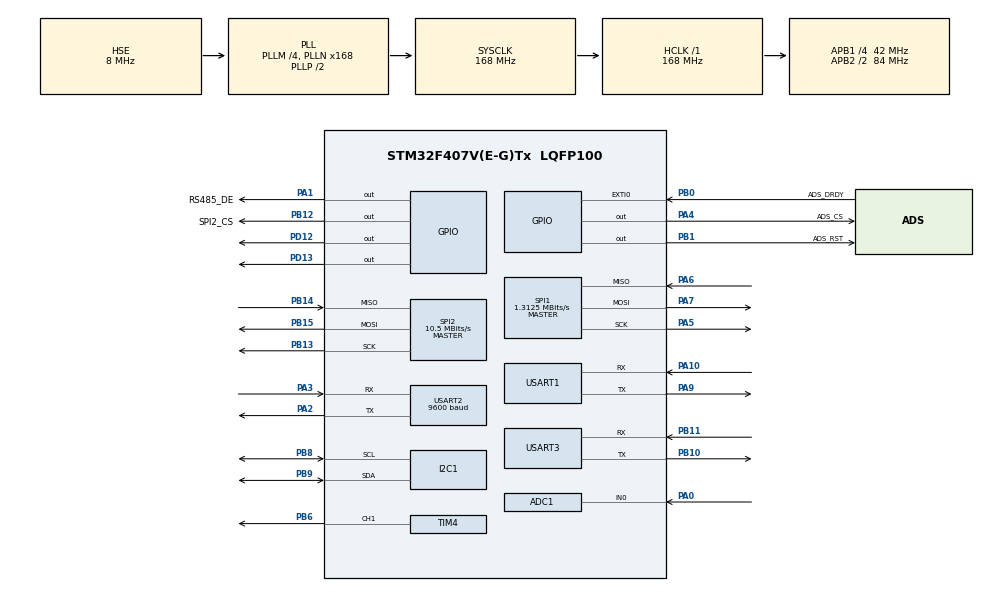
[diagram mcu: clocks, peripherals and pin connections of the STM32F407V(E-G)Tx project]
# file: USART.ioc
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ADC1.Channel-0\#ChannelRegularConversion=ADC_CHANNEL_0
ADC1.NbrOfConversionFlag=1
ADC1.Rank-0\#ChannelRegularConversion=1
ADC1.SamplingTime-0\#ChannelRegularConversion=ADC_SAMPLETIME_144CYCLES
ADC1.master=1
Mcu.Family=STM32F4
Mcu.Name=STM32F407V(E-G)Tx
Mcu.Package=LQFP100
NVIC.EXTI0_IRQn=true\:0\:0\:false\:false\:true\:true\:true\:true
NVIC.PriorityGroup=NVIC_PRIORITYGROUP_4
NVIC.USART1_IRQn=true\:0\:0\:false\:false\:true\:true\:true\:true
NVIC.USART2_IRQn=true\:0\:0\:false\:false\:true\:true\:true\:true
NVIC.USART3_IRQn=true\:0\:0\:false\:false\:true\:true\:true\:true
PA0-WKUP.Signal=ADCx_IN0
PA1.GPIO_Label=RS485_DE
PA1.Signal=GPIO_Output
PA10.Mode=Asynchronous
PA10.Signal=USART1_RX
PA13.Mode=Serial_Wire
PA13.Signal=SYS_JTMS-SWDIO
PA14.Mode=Serial_Wire
PA14.Signal=SYS_JTCK-SWCLK
PA2.Mode=Asynchronous
PA2.Signal=USART2_TX
PA3.Mode=Asynchronous
PA3.Signal=USART2_RX
PA4.GPIO_Label=ADS_CS
PA4.GPIO_Speed=GPIO_SPEED_FREQ_HIGH
PA4.Signal=GPIO_Output
PA5.Mode=Full_Duplex_Master
PA5.Signal=SPI1_SCK
PA6.Mode=Full_Duplex_Master
PA6.Signal=SPI1_MISO
PA7.Mode=Full_Duplex_Master
PA7.Signal=SPI1_MOSI
PA9.Mode=Asynchronous
PA9.Signal=USART1_TX
PB0.GPIO_Label=ADS_DRDY
PB0.GPIO_ModeDefaultEXTI=GPIO_MODE_IT_FALLING
PB0.GPIO_PuPd=GPIO_PULLUP
PB0.Signal=GPXTI0
PB1.GPIO_Label=ADS_RST
PB1.Signal=GPIO_Output
PB10.Mode=Asynchronous
PB10.Signal=USART3_TX
PB11.Mode=Asynchronous
PB11.Signal=USART3_RX
PB12.GPIO_Label=SPI2_CS
PB12.PinState=GPIO_PIN_SET
PB12.Signal=GPIO_Output
PB13.Mode=Full_Duplex_Master
PB13.Signal=SPI2_SCK
PB14.Mode=Full_Duplex_Master
PB14.Signal=SPI2_MISO
PB15.Mode=Full_Duplex_Master
PB15.Signal=SPI2_MOSI
PB6.Signal=S_TIM4_CH1
PB8.Mode=I2C
PB8.Signal=I2C1_SCL
PB9.Mode=I2C
PB9.Signal=I2C1_SDA
PD12.Signal=GPIO_Output
PD13.Signal=GPIO_Output
PH0-OSC_IN.Mode=HSE-External-Oscillator
PH0-OSC_IN.Signal=RCC_OSC_IN
PH1-OSC_OUT.Mode=HSE-External-Oscillator
PH1-OSC_OUT.Signal=RCC_OSC_OUT
ProjectManager.HeapSize=0x200
ProjectManager.StackSize=0x400
ProjectManager.TargetToolchain=MDK-ARM V5.32
RCC.48MHZClocksFreq_Value=84000000
RCC.AHBFreq_Value=168000000
RCC.APB1CLKDivider=RCC_HCLK_DIV4
RCC.APB1Freq_Value=42000000
RCC.APB1TimFreq_Value=84000000
RCC.APB2CLKDivider=RCC_HCLK_DIV2
RCC.APB2Freq_Value=84000000
RCC.APB2TimFreq_Value=168000000
RCC.CortexFreq_Value=168000000
RCC.HCLKFreq_Value=168000000
RCC.HSE_VALUE=8000000
RCC.HSI_VALUE=16000000
RCC.LSE_VALUE=32768
RCC.PLLM=4
RCC.PLLN=168
RCC.PLLSourceVirtual=RCC_PLLSOURCE_HSE
RCC.SYSCLKFreq_VALUE=168000000
RCC.SYSCLKSource=RCC_SYSCLKSOURCE_PLLCLK
RCC.VCOOutputFreq_Value=336000000
SH.ADCx_IN0.0=ADC1_IN0,IN0
SH.S_TIM4_CH1.0=TIM4_CH1,PWM Generation1 CH1
SPI1.BaudRatePrescaler=SPI_BAUDRATEPRESCALER_64
SPI1.CLKPhase=SPI_PHASE_2EDGE
SPI1.CalculateBaudRate=1.3125 MBits/s
SPI1.Direction=SPI_DIRECTION_2LINES
SPI1.Mode=SPI_MODE_MASTER
SPI1.VirtualType=VM_MASTER
SPI2.BaudRatePrescaler=SPI_BAUDRATEPRESCALER_4
SPI2.CalculateBaudRate=10.5 MBits/s
SPI2.Direction=SPI_DIRECTION_2LINES
SPI2.Mode=SPI_MODE_MASTER
SPI2.VirtualType=VM_MASTER
TIM4.Channel-PWM\ Generation1\ CH1=TIM_CHANNEL_1
TIM4.Period=2799
TIM4.Prescaler=0
USART1.VirtualMode=VM_ASYNC
USART2.BaudRate=9600
USART2.VirtualMode=VM_ASYNC
USART3.VirtualMode=VM_ASYNC
VP_TIM4_VS_ClockSourceINT.Mode=Internal
board=custom

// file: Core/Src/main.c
/* USER CODE BEGIN Header */
/**
  ******************************************************************************
  * @file           : main.c
  * @brief          : Main program body
  ******************************************************************************
  * @attention
  *
  * Copyright (c) 2024 STMicroelectronics.
  * All rights reserved.
  *
  * This software is licensed under terms that can be found in the LICENSE file
  * in the root directory of this software component.
  * If no LICENSE file comes with this software, it is provided AS-IS.
  *
  ******************************************************************************
  */
/* USER CODE END Header */
#include "main.h"
#include "adc.h"
#include "i2c.h"
#include "spi.h"
#include "tim.h"
#include "usart.h"
#include "gpio.h"

/* USER CODE BEGIN Includes */
#include <stdio.h>
#include "ads1256.h"
#include "frn06.h"
#include "flow_ctrl.h"
#include "modbus_rtu_slave.h"
#include "w25q64_flash.h"
#include "gas_calib.h"
/* USER CODE END Includes */

/* USER CODE BEGIN PD */

/* USART1 收到任何字节后回 "ok\r\n"（仅用于最初串口连通性测试，默认关闭） */
#define UART1_RX_REPLY_OK 0

/* printf(USART3) 的单次发送超时，避免调试打印长时间阻塞主循环 */
#define DEBUG_UART_TX_TIMEOUT_MS 5U

/* 仅做 Modbus 联调时可置 1：关闭 ADS/FRN06/FlowCtrl 等，避免外设影响 */
#define MODBUS_ONLY_TEST 0

/* 泄漏传感器（PA0/ADC1_IN0）原始 ADC -> 电压（mV）换算用参数 */
#define LEAK_ADC_VREF_MV 3300U
#define LEAK_ADC_FULL_SCALE 4095U

/* 泄漏传感器浓度标定（按 ADC 原始值线性映射）
 * - ADC=2000 -> 0%LEL
 * - ADC=2100 -> 100%LEL
 * 输出单位：%LEL x100（0~10000）
 */
#define LEAK_ADC_ZERO 2000U
#define LEAK_ADC_FULL 2100U

/* 浓度单位：%LEL x100（100.00%LEL -> 10000） */
#define LEAK_CONC_MAX_U16 10000U

/* 三态报警阈值（同样是 %LEL x100）
 * - >25% 低报（1）
 * - >50% 高报（2）
 */
#define LEAK_ALARM_LOW_TH 2500U
#define LEAK_ALARM_HIGH_TH 5000U  //高低报阈值

/* USER CODE END PD */

/* USER CODE BEGIN PV */
/* Modbus 接收中断：每次只收 1 字节（UART IRQ 中不断续接收） */
uint8_t uart1_rx_byte;
uint8_t rs485_rx_byte;
uint8_t uart1_rx_seen;

/* 通信统计（用于调试串口/485 是否有数据进来） */
uint32_t uart1_rx_cnt;
uint32_t uart2_rx_cnt;

/* 轮询定时：FRN06 打印 / FlowCtrl 更新 / ADS 打印等 */
uint32_t frn06_test_last_tick = 0;
uint32_t flow_ctrl_last_tick = 0;
uint32_t ads_print_last_tick = 0;

/* 泵使能的上一次状态：用于检测 0->1 或 1->0 变化，触发 FlowCtrl_Reset() */
uint16_t pump_enable_last = 0;

/* MODBUS_ONLY_TEST 模式下的调试打印节拍 */
uint32_t modbus_dbg_last_tick = 0;

/* PA0 泄漏传感器采样/打印节拍与结果缓存 */
uint32_t leak_adc_last_tick = 0;
uint32_t leak_print_last_tick = 0;
uint16_t leak_adc_raw = 0;
uint16_t leak_mv = 0;

/* leak_conc_u16：%LEL x100（0~10000）；leak_state_u16：0正常/1低报/2高报 */
uint16_t leak_conc_u16 = 0;
uint16_t leak_state_u16 = 0;

int32_t g_ads_zero_uv[GAS_CALIB_CH_COUNT] = {400000, 400000, 400000, 400000};
/* USER CODE END PV */

void SystemClock_Config(void);

/* USER CODE BEGIN 0 */

/* ADS1256 电压(uV) -> 浓度(%LEL x100) 的线性换算：zero_uv=0，2.0V=10000 */
static uint16_t ADS_uV_To_LelX100(int32_t uv, int32_t zero_uv)
{
  const int32_t full_uv = 2000000;
  const int32_t span_uv = (full_uv - zero_uv);

  if (uv <= zero_uv)
  {
    return 0U;
  }
  if (uv > full_uv)
  {
    return 10001U;
  }
  if (span_uv <= 0)
  {
    return 0U;
  }

  {
    int64_t num = (int64_t)(uv - zero_uv) * 10000LL;
    int64_t den = (int64_t)span_uv;
    num += den / 2;
    {
      int64_t out = num / den;
      if (out < 0)
      {
        out = 0;
      }
      if (out < 50)
      {
        out = 0;
      }
      if (out > 10000)
      {
        out = 10000;
      }
      return (uint16_t)out;
    }
  }
}
/**
  * @brief 串口接收完成中断回调函数
  * @note  当前仅对 USART1 做回显测试：收到 1 字节就立即回发。
  */
void HAL_UART_RxCpltCallback(UART_HandleTypeDef *huart)
{
    if(huart->Instance == USART1)
    {
        uart1_rx_seen = 1U;
        uart1_rx_cnt++;
        ModbusRTUSlave_OnByteFromUart(&huart1, uart1_rx_byte);
        HAL_UART_Receive_IT(&huart1, &uart1_rx_byte, 1);
    }
    else if (huart->Instance == USART2)
    {
        uart2_rx_cnt++;
        ModbusRTUSlave_OnByteFromUart(&huart2, rs485_rx_byte);
        HAL_UART_Receive_IT(&huart2, &rs485_rx_byte, 1);
    }
}

void HAL_UART_ErrorCallback(UART_HandleTypeDef *huart)
{
  if (huart == NULL)
  {
    return;
  }

  if (huart->Instance == USART1)
  {
    __HAL_UART_CLEAR_OREFLAG(&huart1);
    __HAL_UART_CLEAR_FEFLAG(&huart1);
    __HAL_UART_CLEAR_NEFLAG(&huart1);
    __HAL_UART_CLEAR_PEFLAG(&huart1);
    (void)HAL_UART_Receive_IT(&huart1, &uart1_rx_byte, 1);
  }
  else if (huart->Instance == USART2)
  {
    __HAL_UART_CLEAR_OREFLAG(&huart2);
    __HAL_UART_CLEAR_FEFLAG(&huart2);
    __HAL_UART_CLEAR_NEFLAG(&huart2);
    __HAL_UART_CLEAR_PEFLAG(&huart2);
    (void)HAL_UART_Receive_IT(&huart2, &rs485_rx_byte, 1);
  }
}

void HAL_GPIO_EXTI_Callback(uint16_t GPIO_Pin)
{
  if (GPIO_Pin == ADS_DRDY_Pin)
  {
    /* ADS1256 DRDY 下降沿：提示有新数据可读（由 ADS1256_Update() 消费此标志） */
    g_ads1256_drdy_flag = 1U;
  }
}

/* PA0 原始 ADC -> mV：仅用于打印观察输入电压，控制逻辑不依赖该值 */
static uint16_t LeakAdc_To_mV(uint16_t adc)
{
  uint32_t mv = ((uint32_t)adc * (uint32_t)LEAK_ADC_VREF_MV + (LEAK_ADC_FULL_SCALE / 2U)) / (uint32_t)LEAK_ADC_FULL_SCALE;
  if (mv > 65535U)
  {
    mv = 65535U;
  }
  return (uint16_t)mv;
}

static uint16_t LeakAdc_To_ConcU16(uint16_t adc)
{
  /* 基于标定点的线性插值：2000->0%LEL，2100->100%LEL（输出%LEL x100） */
  if (adc <= (uint16_t)LEAK_ADC_ZERO)
  {
    return 0U;
  }
  if (adc >= (uint16_t)LEAK_ADC_FULL)
  {
    return (uint16_t)LEAK_CONC_MAX_U16;
  }
  {
    uint32_t span = (uint32_t)((uint16_t)LEAK_ADC_FULL - (uint16_t)LEAK_ADC_ZERO);
    uint32_t num = (uint32_t)(adc - (uint16_t)LEAK_ADC_ZERO) * (uint32_t)LEAK_CONC_MAX_U16;
    uint32_t out = (span == 0U) ? 0U : ((num + span / 2U) / span);
    if (out > (uint32_t)LEAK_CONC_MAX_U16)
    {
      out = (uint32_t)LEAK_CONC_MAX_U16;
    }
    return (uint16_t)out;
  }
}

static uint16_t LeakConc_To_StateU16(uint16_t conc_u16)
{
  /* 三态报警：0正常/1低报/2高报；同时点亮/熄灭板载 LED(示意) */
  if (conc_u16 > (uint16_t)LEAK_ALARM_HIGH_TH)
  {
    HAL_GPIO_WritePin(GPIOD, GPIO_PIN_13, GPIO_PIN_SET);//开灯
    return 2U;
  }
  if (conc_u16 > (uint16_t)LEAK_ALARM_LOW_TH)
  {
    HAL_GPIO_WritePin(GPIOD, GPIO_PIN_13, GPIO_PIN_SET);
    return 1U;
  }
  HAL_GPIO_WritePin(GPIOD, GPIO_PIN_13, GPIO_PIN_RESET);//关灯
  return 0U;
}

/**
  * @brief printf 重定向到调试串口 USART3
  * @note  适用于 Keil/ARMCC 常见 printf 实现。
  */
int fputc(int ch, FILE *f)
{
  (void)f;
  (void)HAL_UART_Transmit(&huart3, (uint8_t *)&ch, 1, DEBUG_UART_TX_TIMEOUT_MS);
  return ch;
}

/**
  * @brief 兼容 GCC/newlib 的 printf 重定向（部分工程会走 _write）
  */
#ifdef __GNUC__
int _write(int file, char *ptr, int len)
{
  (void)file;
  (void)HAL_UART_Transmit(&huart3, (uint8_t *)ptr, (uint16_t)len, DEBUG_UART_TX_TIMEOUT_MS);
  return len;
}
#endif

/* USER CODE END 0 */

int main(void)
{

  /* MCU Configuration--------------------------------------------------------*/

  /* Reset of all peripherals, Initializes the Flash interface and the Systick. */
  HAL_Init();

  /* Configure the system clock */
  SystemClock_Config();

  /* Initialize all configured peripherals */
  MX_GPIO_Init();
  MX_USART1_UART_Init();
  MX_USART2_UART_Init();
  MX_USART3_UART_Init();
  MX_ADC1_Init();
  MX_I2C1_Init();
  MX_SPI1_Init();
  MX_TIM4_Init();
  MX_SPI2_Init();
  /* USER CODE BEGIN 2 */
  /* Modbus 从机：同时挂载到 USART1/USART2，两路共用同一份保持寄存器数据
   * - USART1：通常接串口屏/上位机
   * - USART2：通常接 RS485
   */
  ModbusRTUSlave_Init(&huart1, 1);
  ModbusRTUSlave_Init(&huart2, 1);

  /* 采用中断方式逐字节接收，接收回调里喂给 Modbus 协议栈 */
  HAL_UART_Receive_IT(&huart1, &uart1_rx_byte, 1);
  HAL_UART_Receive_IT(&huart2, &rs485_rx_byte, 1);

  /* NVIC 优先级：让 Modbus 接收优先级高于 ADS 打印，避免丢帧 */
  HAL_NVIC_SetPriority(USART1_IRQn, 1, 0);
  HAL_NVIC_SetPriority(USART2_IRQn, 1, 0);
  HAL_NVIC_SetPriority(EXTI0_IRQn, 5, 0);
  HAL_NVIC_SetPriority(USART3_IRQn, 6, 0);
  HAL_NVIC_EnableIRQ(USART1_IRQn);
  HAL_NVIC_EnableIRQ(USART2_IRQn);
  HAL_NVIC_EnableIRQ(EXTI0_IRQn);
  HAL_NVIC_EnableIRQ(USART3_IRQn);

#if MODBUS_ONLY_TEST
  HAL_NVIC_DisableIRQ(EXTI0_IRQn);

  ModbusRTUSlave_SetPumpEnable(0U);
  __HAL_TIM_SET_COMPARE(&htim4, TIM_CHANNEL_1, 0);
  (void)HAL_TIM_PWM_Stop(&htim4, TIM_CHANNEL_1);
  {
    GPIO_InitTypeDef GPIO_InitStruct = {0};
    GPIO_InitStruct.Pin = GPIO_PIN_6;
    GPIO_InitStruct.Mode = GPIO_MODE_OUTPUT_PP;
    GPIO_InitStruct.Pull = GPIO_NOPULL;
    GPIO_InitStruct.Speed = GPIO_SPEED_FREQ_LOW;
    HAL_GPIO_Init(GPIOB, &GPIO_InitStruct);
    HAL_GPIO_WritePin(GPIOB, GPIO_PIN_6, GPIO_PIN_RESET);
  }
#endif

  HAL_SPI_DeInit(&hspi1);
  hspi1.Init.BaudRatePrescaler = SPI_BAUDRATEPRESCALER_256;
  (void)HAL_SPI_Init(&hspi1);

  /* ADS/RS485 相关 GPIO 上电默认电平：
   * - CS 空闲建议拉高（不选中）
   * - RESET 释放建议拉高（退出复位）
   * - RS485_DE 保持低（接收模式），当前未接485也不影响
   */
  HAL_GPIO_WritePin(ADS_CS_GPIO_Port, ADS_CS_Pin, GPIO_PIN_SET);
  HAL_GPIO_WritePin(ADS_RST_GPIO_Port, ADS_RST_Pin, GPIO_PIN_SET);
  HAL_GPIO_WritePin(RS485_DE_GPIO_Port, RS485_DE_Pin, GPIO_PIN_RESET);
  printf("open is OK!!!\r\n");

  if (W25Q64_Init() == 0)
  {
    int32_t z[GAS_CALIB_CH_COUNT];
    if (GasCalib_LoadZeroUv(z) == 0)
    {
      for (uint8_t i = 0; i < GAS_CALIB_CH_COUNT; i++)
      {
        g_ads_zero_uv[i] = z[i];
      }
    }
  }
  /* 为了避免线路未接/接触不良导致“浮空随机值”，这里在运行时做一次 GPIO 重新配置：
   * - DRDY：输入上拉（未接时稳定为 1；接上后由 ADS1256 驱动）
   * - SPI1 MISO(PA6)：AF 无上下拉（由 ADS1256 DOUT 推挽驱动）
   */
  {
    GPIO_InitTypeDef GPIO_InitStruct = {0};

    GPIO_InitStruct.Pin = GPIO_PIN_6;
    GPIO_InitStruct.Mode = GPIO_MODE_AF_PP;
    GPIO_InitStruct.Pull = GPIO_NOPULL;
    GPIO_InitStruct.Speed = GPIO_SPEED_FREQ_VERY_HIGH;
    GPIO_InitStruct.Alternate = GPIO_AF5_SPI1;
    HAL_GPIO_Init(GPIOA, &GPIO_InitStruct);
  }

#if !MODBUS_ONLY_TEST
  FRN06_Init();
  {
    /* FRN06 传感器参数（offset/scale）上电读一次，后续用来做流量单位换算 */
    int32_t off = 0;
    int32_t scale = 0;
    if (FRN06_ReadParams(&off, &scale) == HAL_OK)
    {
      printf("FRN06 offset=%ld, scale=%ld\r\n", (long)off, (long)scale);
    }
    else
    {
      printf("FRN06 read params failed\r\n");
    }
  }

  (void)FlowCtrl_Init();
  /* 默认目标流量：500 mslm（=0.500 slm），可后续改为从 Modbus/界面下发 */
  FlowCtrl_SetTarget_mslm(500);

  /* 板载指示灯：PD12 作为电源/运行灯 */
  HAL_GPIO_WritePin(GPIOD, GPIO_PIN_12, GPIO_PIN_SET);//电源灯
  //HAL_GPIO_WritePin(GPIOD, GPIO_PIN_13, GPIO_PIN_SET);
#endif
  /* USER CODE END 2 */

  /* Infinite loop */
  /* USER CODE BEGIN WHILE */
  while (1)
  {
#if !MODBUS_ONLY_TEST
    /* PA0 泄漏传感器采样：100ms 采一次（ADC 单次转换方式）
     * - leak_conc_u16：浓度（%LEL x100）
     * - leak_state_u16：三态报警（0/1/2）并发布到 Modbus 寄存器
     */
    if ((HAL_GetTick() - leak_adc_last_tick) >= 100U)
    {
      leak_adc_last_tick = HAL_GetTick();
      if (HAL_ADC_Start(&hadc1) == HAL_OK)
      {
        if (HAL_ADC_PollForConversion(&hadc1, 1) == HAL_OK)
        {
          uint32_t v = HAL_ADC_GetValue(&hadc1);
          if (v > 0xFFFFU)
          {
            v = 0xFFFFU;
          }
          leak_adc_raw = (uint16_t)v;
          leak_mv = LeakAdc_To_mV(leak_adc_raw);
          leak_conc_u16 = LeakAdc_To_ConcU16(leak_adc_raw);
          leak_state_u16 = LeakConc_To_StateU16(leak_conc_u16);
          ModbusRTUSlave_SetLeakState(leak_state_u16);
        }
        (void)HAL_ADC_Stop(&hadc1);
      }
    }

    /* 低频打印，避免太多 printf 影响实时控制 */
    if ((HAL_GetTick() - leak_print_last_tick) >= 500U)
    {
      leak_print_last_tick = HAL_GetTick();
      printf("LEAK adc=%u mv=%u conc=%u state=%u\r\n", leak_adc_raw, leak_mv, leak_conc_u16, leak_state_u16);
    }
#endif

#if !MODBUS_ONLY_TEST
    /* ADS1256 采样更新：驱动内部使用 DRDY 标志做非阻塞采样
     * 这里每次循环都调用 Update，然后将四路浓度写入 Modbus 保持寄存器 0~3。
     */
    ADS1256_Update();

    {
      uint16_t req = ModbusRTUSlave_GetZeroCalibReq();
      if (req < 4U)
      {
        int32_t uv = ADS1256_GetLatestUv((uint8_t)req);
        if (uv == (int32_t)0x80000000 || uv == (int32_t)0x80000001)
        {
          ModbusRTUSlave_SetZeroCalibResult(3U);
        }
        else
        {
          g_ads_zero_uv[req] = uv;
          if (GasCalib_SaveZeroUv(g_ads_zero_uv) == 0)
          {
            ModbusRTUSlave_SetZeroCalibResult(1U);
          }
          else
          {
            ModbusRTUSlave_SetZeroCalibResult(2U);
          }
        }
        ModbusRTUSlave_ClearZeroCalibReq();
      }
    }

    {
      uint16_t conc_u16[4];
      uint16_t fault_mask = 0U;
      for (uint8_t ch = 0; ch < 4U; ch++)
      {
        int32_t uv = ADS1256_GetLatestUv(ch);
        if (uv == (int32_t)0x80000000 || uv == (int32_t)0x80000001)
        {
          fault_mask |= (uint16_t)(1U << ch);
          conc_u16[ch] = 0U;
        }
        else
        {
          if (uv < 240000)
          {
            fault_mask |= (uint16_t)(1U << ch);
          }
          conc_u16[ch] = ADS_uV_To_LelX100(uv, g_ads_zero_uv[ch]);
        }
        ModbusRTUSlave_SetConcentrationU16(ch, conc_u16[ch]);
      }
      ModbusRTUSlave_SetSensorFaultMask(fault_mask);
    }
#endif

    /* Modbus 协议栈轮询：解析接收帧并发送响应（两路串口都在这里处理） */
    ModbusRTUSlave_PollAll();

#if MODBUS_ONLY_TEST
    if ((HAL_GetTick() - modbus_dbg_last_tick) >= 1000U)
    {
      modbus_dbg_last_tick = HAL_GetTick();
      printf("MB rx1=%lu rx2=%lu ok=%lu bad=%lu\r\n",
             (unsigned long)uart1_rx_cnt,
             (unsigned long)uart2_rx_cnt,
             (unsigned long)g_modbus_rx_ok_frames,
             (unsigned long)g_modbus_rx_bad_crc_frames);
    }
#endif

#if UART1_RX_REPLY_OK
    if (uart1_rx_seen != 0U)
    {
      static const uint8_t ok_msg[] = "ok\r\n";
      uart1_rx_seen = 0U;
      (void)HAL_UART_Transmit(&huart1, (uint8_t *)ok_msg, (uint16_t)(sizeof(ok_msg) - 1U), 10);
    }
#endif

#if !MODBUS_ONLY_TEST
    /* 流量闭环控制：50ms 更新一次
     * - pump_en 来自 Modbus 寄存器 4（可写），用于开/关泵
     * - 使能变化时 reset，避免积分项/状态残留
     */
    if ((HAL_GetTick() - flow_ctrl_last_tick) >= 50U)
    {
      flow_ctrl_last_tick = HAL_GetTick();
      {
        uint16_t pump_en = ModbusRTUSlave_GetPumpEnable();

        if (pump_en != pump_enable_last)
        {
          pump_enable_last = pump_en;
          FlowCtrl_Reset();
        }

        if (pump_en != 0U)
        {
          FlowCtrl_Update();
        }
        else
        {
          FlowCtrl_Sample();
          __HAL_TIM_SET_COMPARE(&htim4, TIM_CHANNEL_1, 0);
        }
      }
    }
#endif

#if !MODBUS_ONLY_TEST
    /* 每 1 秒打印一次流量传感器读数与 PWM 输出，用于现场观察稳定性 */
    if ((HAL_GetTick() - frn06_test_last_tick) >= 1000U)
    {
      frn06_test_last_tick = HAL_GetTick();
      {
        int32_t meas = 0;
        int32_t filt = FlowCtrl_GetMeasured_mslm();
        uint32_t pwm = FlowCtrl_GetPwmCompare();
        int32_t raw = 0;
        (void)FRN06_ReadFlow_mslm(&meas);
        (void)FRN06_ReadFlowRaw(&raw);

        uint32_t arr = __HAL_TIM_GET_AUTORELOAD(&htim4);
        uint32_t period = arr + 1U;
        uint32_t duty_x1000 = 0;
        if (period > 0U)
        {
          duty_x1000 = (uint32_t)((pwm * 1000U) / period);
        }

        int32_t abs_meas = (meas >= 0) ? meas : -meas;

        int32_t abs_filt = (filt >= 0) ? filt : -filt;

        printf("FLOW raw=%ld inst=%c%ld.%03ld filt=%c%ld.%03ld pwm=%lu/%lu (duty=%lu.%01lu%%)\r\n",
               (long)raw,
               (meas < 0) ? '-' : '+',
               (long)(abs_meas / 1000L),
               (long)(abs_meas % 1000L),
               (filt < 0) ? '-' : '+',
               (long)(abs_filt / 1000L),
               (long)(abs_filt % 1000L),
               (unsigned long)pwm,
               (unsigned long)arr,
               (unsigned long)(duty_x1000 / 10U),
               (unsigned long)(duty_x1000 % 10U));
      }
    }
#endif

#if !MODBUS_ONLY_TEST
    /* ADS 调试打印：每 200ms 输出一次（raw/uV/conc），便于校准与排错 */
    if ((HAL_GetTick() - ads_print_last_tick) >= 200U)
    {
      ads_print_last_tick = HAL_GetTick();
      {
        int32_t raw[4];
        int32_t uv[4];
        uint16_t conc_u16[4];
        GPIO_PinState drdy = HAL_GPIO_ReadPin(ADS_DRDY_GPIO_Port, ADS_DRDY_Pin);
        uint8_t status = ADS1256_ReadStatus();

        for (uint8_t ch = 0; ch < 4U; ch++)
        {
          raw[ch] = ADS1256_GetLatestRaw(ch);
          uv[ch] = ADS1256_GetLatestUv(ch);
          if (uv[ch] == (int32_t)0x80000000 || uv[ch] == (int32_t)0x80000001)
          {
            conc_u16[ch] = 0U;
          }
          else
          {
            conc_u16[ch] = ADS_uV_To_LelX100(uv[ch], g_ads_zero_uv[ch]);
          }
        }

        printf("ADS drdy=%d status=0x%02X\r\n", (int)drdy, status);
        printf("ADS raw : ch0=%ld ch1=%ld ch2=%ld ch3=%ld\r\n",
               (long)raw[0], (long)raw[1], (long)raw[2], (long)raw[3]);
        printf("ADS conc: ch0=%u ch1=%u ch2=%u ch3=%u\r\n",
               (unsigned int)conc_u16[0], (unsigned int)conc_u16[1], (unsigned int)conc_u16[2], (unsigned int)conc_u16[3]);
        printf("ADS volt(uV): ch0=%ld ch1=%ld ch2=%ld ch3=%ld\r\n",
               (long)uv[0], (long)uv[1], (long)uv[2], (long)uv[3]);
        printf("ADS zero(uV): ch0=%ld ch1=%ld ch2=%ld ch3=%ld\r\n",
               (long)g_ads_zero_uv[0], (long)g_ads_zero_uv[1], (long)g_ads_zero_uv[2], (long)g_ads_zero_uv[3]);
      }
    }
#endif
    /* USER CODE END WHILE */

  }
}

void SystemClock_Config(void)
{
  RCC_OscInitTypeDef RCC_OscInitStruct = {0};
  RCC_ClkInitTypeDef RCC_ClkInitStruct = {0};

  /** Configure the main internal regulator output voltage
  */
  __HAL_RCC_PWR_CLK_ENABLE();
  __HAL_PWR_VOLTAGESCALING_CONFIG(PWR_REGULATOR_VOLTAGE_SCALE1);

  /** Initializes the RCC Oscillators according to the specified parameters
  * in the RCC_OscInitTypeDef structure.
  */
  RCC_OscInitStruct.OscillatorType = RCC_OSCILLATORTYPE_HSE;
  RCC_OscInitStruct.HSEState = RCC_HSE_ON;
  RCC_OscInitStruct.PLL.PLLState = RCC_PLL_ON;
  RCC_OscInitStruct.PLL.PLLSource = RCC_PLLSOURCE_HSE;
  RCC_OscInitStruct.PLL.PLLM = 4;
  RCC_OscInitStruct.PLL.PLLN = 168;
  RCC_OscInitStruct.PLL.PLLP = RCC_PLLP_DIV2;
  RCC_OscInitStruct.PLL.PLLQ = 4;
  if (HAL_RCC_OscConfig(&RCC_OscInitStruct) != HAL_OK)
  {
    Error_Handler();
  }

  /** Initializes the CPU, AHB and APB buses clocks
  */
  RCC_ClkInitStruct.ClockType = RCC_CLOCKTYPE_HCLK|RCC_CLOCKTYPE_SYSCLK
                              |RCC_CLOCKTYPE_PCLK1|RCC_CLOCKTYPE_PCLK2;
  RCC_ClkInitStruct.SYSCLKSource = RCC_SYSCLKSOURCE_PLLCLK;
  RCC_ClkInitStruct.AHBCLKDivider = RCC_SYSCLK_DIV1;
  RCC_ClkInitStruct.APB1CLKDivider = RCC_HCLK_DIV4;
  RCC_ClkInitStruct.APB2CLKDivider = RCC_HCLK_DIV2;

  if (HAL_RCC_ClockConfig(&RCC_ClkInitStruct, FLASH_LATENCY_5) != HAL_OK)
  {
    Error_Handler();
  }
}

void Error_Handler(void)
{
  __disable_irq();
  while (1)
  {
  }
}
